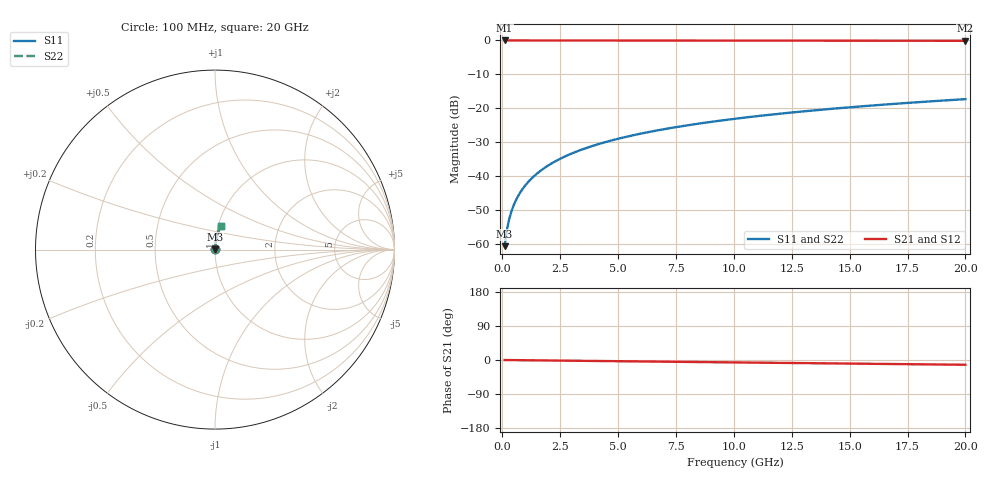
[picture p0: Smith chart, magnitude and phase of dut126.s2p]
! Touchstone file exported from HFSS 2026.1.0
!  File:  C:/ffzhzh/LocalFiles/Ansys_Project_Files/temp_train_TMRDL_126_1782982704_40604.aedt
!  Generated:  04:59:33 PM Jul  2, 2026
!  Design:  TMRDL
!  Project:  temp_train_TMRDL_126_1782982704_40604
! Variables:
!  h_bsmrdl = 2um
!  h_ox = 20um
!  h_rdl = 5um
!  h_sub = 80um
!  h_tmrdl = 5.91um
!  h_tsv = 80um
!  h_via = 3um
!  l_bsmrdl = 300um
!  l_sub = 537.95um
!  l_tmrdl = 137.95um
!  m_sub = 200um
!  pitch = 54.88um
!  r_tsv = 6um
!  s_tmrdl = 10um
!  w_bsmrdl = 18um
!  w_sub = 500um
!  w_tmrdl = 21.43um
!  x_tsv_center1 = 148.665um
!  x_tsv_center2 = 466.665um
!  x_tsv_center3 = 626.045um
!  x_tsv_center4 = 944.045um
!  x_tsv_center5 = 1103.425um
!  x_tsv_center6 = 1421.425um
# GHz S MA R 50.000000
! Terminal data exported
! Port[1] = TM_RDL1_1_T1
! Port[2] = TM_RDL1_1_T2
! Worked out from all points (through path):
!   200 points, 100 MHz to 20 GHz, reference 50 ohm
!   highest |S21| = 0.00 dB at 100 MHz (marker M1); lowest = -0.1 dB at 20 GHz (marker M2)
!   group delay of S21, straight-line fit = 1.74 ps
!   lowest |S11| = -60.7 dB at 100 MHz (marker M3), VSWR 1.00, Z = 50.1 + j0.0765 ohm
!   |S11| at or under -10 dB: start of sweep to end of sweep
!   |S22| runs from -60.7 to -17.3 dB; largest |S21 - S12| = 3.1e-15
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0.1  0.0009214 56.0  0.9995 -0.1  0.9995 -0.1  0.0009214 56.0
! Gamma 0 0 0 0
! Port Impedance 50 0 50 0
0.2  0.001612 70.3  0.9995 -0.1  0.9995 -0.1  0.001612 70.3
0.3  0.002329 75.6  0.9994 -0.2  0.9994 -0.2  0.002329 75.6
0.4  0.003046 78.3  0.9994 -0.3  0.9994 -0.3  0.003046 78.3
0.5  0.003759 80.0  0.9994 -0.3  0.9994 -0.3  0.003759 80.0
0.7  0.005179 82.0  0.9993 -0.5  0.9993 -0.5  0.005179 82.0
0.8  0.005889 82.7  0.9993 -0.5  0.9993 -0.5  0.005889 82.7
1  0.007309 83.6  0.9992 -0.7  0.9992 -0.7  0.007309 83.6
1.2  0.008731 84.2  0.9992 -0.8  0.9992 -0.8  0.008731 84.2
1.4  0.01015 84.6  0.9991 -0.9  0.9991 -0.9  0.01015 84.6
1.7  0.01228 85.0  0.9991 -1.1  0.9991 -1.1  0.01228 85.0
2  0.01441 85.2  0.999 -1.3  0.999 -1.3  0.01441 85.2
2.7  0.01936 85.3  0.9988 -1.7  0.9988 -1.7  0.01936 85.3
3.5  0.02498 85.1  0.9985 -2.3  0.9985 -2.3  0.02498 85.1
4.2  0.02986 84.8  0.9982 -2.7  0.9982 -2.7  0.02986 84.8
5  0.03541 84.4  0.9979 -3.2  0.9979 -3.2  0.03541 84.4
6.8  0.04778 83.6  0.9971 -4.3  0.9971 -4.3  0.04778 83.6
8.3  0.05803 82.8  0.9964 -5.3  0.9964 -5.3  0.05803 82.8
10.1  0.07025 81.8  0.9954 -6.4  0.9954 -6.4  0.07025 81.8
13.4  0.09249 80.0  0.9933 -8.5  0.9933 -8.5  0.09249 80.0
16.7  0.1145 78.1  0.9907 -10.5  0.9907 -10.5  0.1145 78.1
20  0.1361 76.2  0.9876 -12.6  0.9876 -12.6  0.1361 76.1
